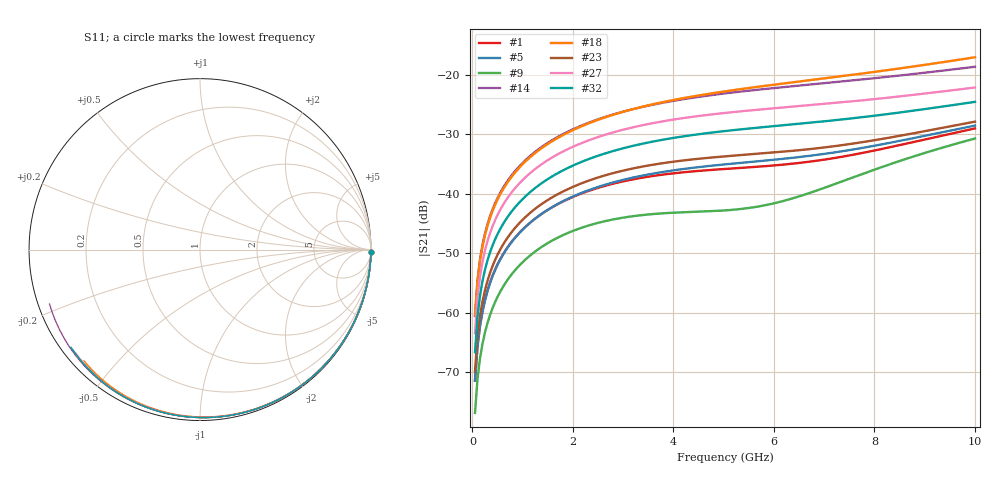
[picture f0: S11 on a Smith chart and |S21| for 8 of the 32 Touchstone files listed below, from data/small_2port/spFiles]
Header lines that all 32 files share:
! freq	dB(S11)	phase(S11)	dB(S12)	phase(S12)
!  dB(S21)	phase(S21)	dB(S22)	phase(S22)
!S-par simulation data
#  GHz  S  DB  R 50
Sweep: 50 MHz to 10 GHz
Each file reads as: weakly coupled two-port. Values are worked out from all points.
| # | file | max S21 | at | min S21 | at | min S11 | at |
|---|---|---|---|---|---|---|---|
| 1 | randomSmallGDS_pixelSize=8_sim=1.s2p | -29.05 dB | 10 GHz | -71.4 dB | 50 MHz | -0.5 dB | 10 GHz |
| 2 | randomSmallGDS_pixelSize=8_sim=2.s2p | -22.54 dB | 10 GHz | -65.0 dB | 50 MHz | -0.5 dB | 10 GHz |
| 3 | randomSmallGDS_pixelSize=8_sim=4.s2p | -30.09 dB | 10 GHz | -73.9 dB | 50 MHz | -0.4 dB | 10 GHz |
| 4 | randomSmallGDS_pixelSize=8_sim=5.s2p | -27.61 dB | 10 GHz | -69.2 dB | 50 MHz | -0.5 dB | 10 GHz |
| 5 | randomSmallGDS_pixelSize=8_sim=7.s2p | -28.57 dB | 10 GHz | -71.4 dB | 50 MHz | -0.4 dB | 10 GHz |
| 6 | randomSmallGDS_pixelSize=8_sim=8.s2p | -28.33 dB | 10 GHz | -70.4 dB | 50 MHz | -0.5 dB | 10 GHz |
| 7 | randomSmallGDS_pixelSize=8_sim=11.s2p | -27.63 dB | 10 GHz | -69.3 dB | 50 MHz | -0.5 dB | 10 GHz |
| 8 | randomSmallGDS_pixelSize=8_sim=12.s2p | -23.94 dB | 10 GHz | -65.7 dB | 50 MHz | -0.5 dB | 10 GHz |
| 9 | randomSmallGDS_pixelSize=8_sim=14.s2p | -30.74 dB | 10 GHz | -76.9 dB | 50 MHz | -0.4 dB | 10 GHz |
| 10 | randomSmallGDS_pixelSize=8_sim=15.s2p | -12.25 dB | 10 GHz | -55.6 dB | 50 MHz | -0.8 dB | 10 GHz |
| 11 | randomSmallGDS_pixelSize=8_sim=16.s2p | -22.88 dB | 10 GHz | -64.0 dB | 50 MHz | -0.5 dB | 10 GHz |
| 12 | randomSmallGDS_pixelSize=8_sim=17.s2p | -26.09 dB | 10 GHz | -67.5 dB | 50 MHz | -0.5 dB | 10 GHz |
| 13 | randomSmallGDS_pixelSize=8_sim=18.s2p | -22.79 dB | 10 GHz | -63.8 dB | 50 MHz | -0.5 dB | 10 GHz |
| 14 | randomSmallGDS_pixelSize=8_sim=19.s2p | -18.69 dB | 10 GHz | -60.5 dB | 50 MHz | -0.6 dB | 10 GHz |
| 15 | randomSmallGDS_pixelSize=8_sim=20.s2p | -18.95 dB | 10 GHz | -60.9 dB | 50 MHz | -0.6 dB | 10 GHz |
| 16 | randomSmallGDS_pixelSize=8_sim=22.s2p | -25.29 dB | 10 GHz | -67.3 dB | 50 MHz | -0.5 dB | 10 GHz |
| 17 | randomSmallGDS_pixelSize=8_sim=23.s2p | -14.82 dB | 10 GHz | -57.2 dB | 50 MHz | -0.6 dB | 10 GHz |
| 18 | randomSmallGDS_pixelSize=8_sim=24.s2p | -17.09 dB | 10 GHz | -60.5 dB | 50 MHz | -0.5 dB | 10 GHz |
| 19 | randomSmallGDS_pixelSize=8_sim=25.s2p | -23.12 dB | 10 GHz | -65.1 dB | 50 MHz | -0.5 dB | 10 GHz |
| 20 | randomSmallGDS_pixelSize=8_sim=26.s2p | -27.48 dB | 10 GHz | -69.0 dB | 50 MHz | -0.5 dB | 10 GHz |
| 21 | randomSmallGDS_pixelSize=8_sim=28.s2p | -27.66 dB | 10 GHz | -69.9 dB | 50 MHz | -0.5 dB | 10 GHz |
| 22 | randomSmallGDS_pixelSize=8_sim=29.s2p | -23.66 dB | 10 GHz | -65.9 dB | 50 MHz | -0.5 dB | 10 GHz |
| 23 | randomSmallGDS_pixelSize=8_sim=30.s2p | -27.91 dB | 10 GHz | -69.9 dB | 50 MHz | -0.5 dB | 10 GHz |
| 24 | randomSmallGDS_pixelSize=8_sim=31.s2p | -29.24 dB | 10 GHz | -72.0 dB | 50 MHz | -0.5 dB | 10 GHz |
| 25 | randomSmallGDS_pixelSize=8_sim=32.s2p | -29.28 dB | 10 GHz | -72.2 dB | 50 MHz | -0.4 dB | 10 GHz |
| 26 | randomSmallGDS_pixelSize=8_sim=33.s2p | -27.97 dB | 10 GHz | -69.9 dB | 50 MHz | -0.5 dB | 10 GHz |
| 27 | randomSmallGDS_pixelSize=8_sim=34.s2p | -22.17 dB | 10 GHz | -63.5 dB | 50 MHz | -0.5 dB | 10 GHz |
| 28 | randomSmallGDS_pixelSize=8_sim=35.s2p | -16.36 dB | 10 GHz | -59.1 dB | 50 MHz | -0.7 dB | 10 GHz |
| 29 | randomSmallGDS_pixelSize=8_sim=36.s2p | -27.64 dB | 10 GHz | -69.6 dB | 50 MHz | -0.5 dB | 10 GHz |
| 30 | randomSmallGDS_pixelSize=8_sim=37.s2p | -21.78 dB | 10 GHz | -63.8 dB | 50 MHz | -0.5 dB | 10 GHz |
| 31 | randomSmallGDS_pixelSize=8_sim=38.s2p | -19.40 dB | 10 GHz | -61.3 dB | 50 MHz | -0.6 dB | 10 GHz |
| 32 | randomSmallGDS_pixelSize=8_sim=39.s2p | -24.58 dB | 10 GHz | -66.6 dB | 50 MHz | -0.5 dB | 10 GHz |
